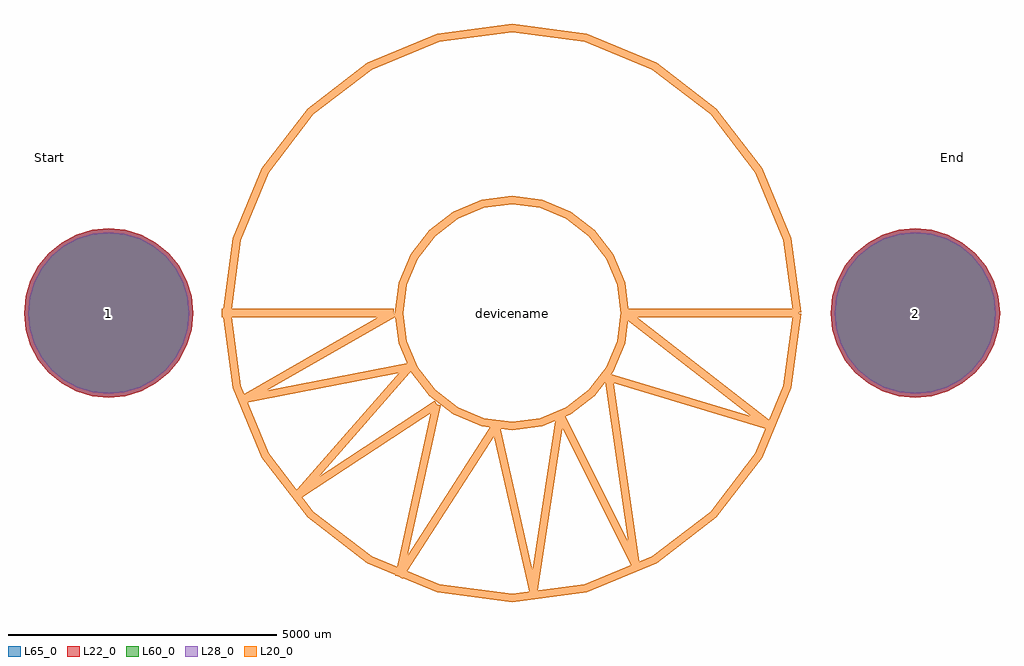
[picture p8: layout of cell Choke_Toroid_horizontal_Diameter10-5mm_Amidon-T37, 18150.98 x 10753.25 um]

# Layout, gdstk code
import gdstk
lib = gdstk.Library(unit=1e-6, precision=1e-09)
def P(c, l, *ps):  # polygons
    for p in ps: c.add(gdstk.Polygon(p, *l))
L20_0 = (20, 0)
L22_0 = (22, 0)
L28_0 = (28, 0)
L60_0 = (60, 0)
L65_0 = (65, 0)

choke_toroid_horizontal_ = lib.new_cell('Choke_Toroid_horizontal_Diameter10-5mm_Amidon-T37')
P(choke_toroid_horizontal_, L22_0, [(9075.49,0),(9045.229,307.242),(8955.61,602.677),(8810.077,874.951),(8614.221,1113.601),(8375.571,1309.457),(8103.297,1454.99),(7807.862,1544.609),(7500.62,1574.87),(7193.378,1544.609),(6897.943,1454.99),(6625.669,1309.457),(6387.019,1113.601),(6191.163,874.951),(6045.63,602.677),(5956.011,307.242),(5925.75,0),(5956.011,-307.242),(6045.63,-602.677),(6191.163,-874.951),(6387.019,-1113.601),(6625.669,-1309.457),(6897.943,-1454.99),(7193.378,-1544.609),(7500.62,-1574.87),(7807.862,-1544.609),(8103.297,-1454.99),(8375.571,-1309.457),(8614.221,-1113.601),(8810.077,-874.951),(8955.61,-602.677),(9045.229,-307.242)],
  [(-5925.75,0),(-5956.011,307.242),(-6045.63,602.677),(-6191.163,874.951),(-6387.019,1113.601),(-6625.669,1309.457),(-6897.943,1454.99),(-7193.378,1544.609),(-7500.62,1574.87),(-7807.862,1544.609),(-8103.297,1454.99),(-8375.571,1309.457),(-8614.221,1113.601),(-8810.077,874.951),(-8955.61,602.677),(-9045.229,307.242),(-9075.49,0),(-9045.229,-307.242),(-8955.61,-602.677),(-8810.077,-874.951),(-8614.221,-1113.601),(-8375.571,-1309.457),(-8103.297,-1454.99),(-7807.862,-1544.609),(-7500.62,-1574.87),(-7193.378,-1544.609),(-6897.943,-1454.99),(-6625.669,-1309.457),(-6387.019,-1113.601),(-6191.163,-874.951),(-6045.63,-602.677),(-5956.011,-307.242)])
P(choke_toroid_horizontal_, L28_0, [(9000.49,0),(8971.67,292.61),(8886.319,573.975),(8747.716,833.283),(8561.188,1060.568),(8333.903,1247.096),(8074.595,1385.699),(7793.23,1471.05),(7500.62,1499.87),(7208.01,1471.05),(6926.645,1385.699),(6667.337,1247.096),(6440.052,1060.568),(6253.524,833.283),(6114.921,573.975),(6029.57,292.61),(6000.75,0),(6029.57,-292.61),(6114.921,-573.975),(6253.524,-833.283),(6440.052,-1060.568),(6667.337,-1247.096),(6926.645,-1385.699),(7208.01,-1471.05),(7500.62,-1499.87),(7793.23,-1471.05),(8074.595,-1385.699),(8333.903,-1247.096),(8561.188,-1060.568),(8747.716,-833.283),(8886.319,-573.975),(8971.67,-292.61)],
  [(-6000.75,0),(-6029.57,292.61),(-6114.921,573.975),(-6253.524,833.283),(-6440.052,1060.568),(-6667.337,1247.096),(-6926.645,1385.699),(-7208.01,1471.05),(-7500.62,1499.87),(-7793.23,1471.05),(-8074.595,1385.699),(-8333.903,1247.096),(-8561.188,1060.568),(-8747.716,833.283),(-8886.319,573.975),(-8971.67,292.61),(-9000.49,0),(-8971.67,-292.61),(-8886.319,-573.975),(-8747.716,-833.283),(-8561.188,-1060.568),(-8333.903,-1247.096),(-8074.595,-1385.699),(-7793.23,-1471.05),(-7500.62,-1499.87),(-7208.01,-1471.05),(-6926.645,-1385.699),(-6667.337,-1247.096),(-6440.052,-1060.568),(-6253.524,-833.283),(-6114.921,-573.975),(-6029.57,-292.61)])
P(choke_toroid_horizontal_, L60_0, [(9000.49,0),(8971.67,292.61),(8886.319,573.975),(8747.716,833.283),(8561.188,1060.568),(8333.903,1247.096),(8074.595,1385.699),(7793.23,1471.05),(7500.62,1499.87),(7208.01,1471.05),(6926.645,1385.699),(6667.337,1247.096),(6440.052,1060.568),(6253.524,833.283),(6114.921,573.975),(6029.57,292.61),(6000.75,0),(6029.57,-292.61),(6114.921,-573.975),(6253.524,-833.283),(6440.052,-1060.568),(6667.337,-1247.096),(6926.645,-1385.699),(7208.01,-1471.05),(7500.62,-1499.87),(7793.23,-1471.05),(8074.595,-1385.699),(8333.903,-1247.096),(8561.188,-1060.568),(8747.716,-833.283),(8886.319,-573.975),(8971.67,-292.61)],
  [(-6000.75,0),(-6029.57,292.61),(-6114.921,573.975),(-6253.524,833.283),(-6440.052,1060.568),(-6667.337,1247.096),(-6926.645,1385.699),(-7208.01,1471.05),(-7500.62,1499.87),(-7793.23,1471.05),(-8074.595,1385.699),(-8333.903,1247.096),(-8561.188,1060.568),(-8747.716,833.283),(-8886.319,573.975),(-8971.67,292.61),(-9000.49,0),(-8971.67,-292.61),(-8886.319,-573.975),(-8747.716,-833.283),(-8561.188,-1060.568),(-8333.903,-1247.096),(-8074.595,-1385.699),(-7793.23,-1471.05),(-7500.62,-1499.87),(-7208.01,-1471.05),(-6926.645,-1385.699),(-6667.337,-1247.096),(-6440.052,-1060.568),(-6253.524,-833.283),(-6114.921,-573.975),(-6029.57,-292.61)])
P(choke_toroid_horizontal_, L65_0, [(9075.49,0),(9045.229,307.242),(8955.61,602.677),(8810.077,874.951),(8614.221,1113.601),(8375.571,1309.457),(8103.297,1454.99),(7807.862,1544.609),(7500.62,1574.87),(7193.378,1544.609),(6897.943,1454.99),(6625.669,1309.457),(6387.019,1113.601),(6191.163,874.951),(6045.63,602.677),(5956.011,307.242),(5925.75,0),(5956.011,-307.242),(6045.63,-602.677),(6191.163,-874.951),(6387.019,-1113.601),(6625.669,-1309.457),(6897.943,-1454.99),(7193.378,-1544.609),(7500.62,-1574.87),(7807.862,-1544.609),(8103.297,-1454.99),(8375.571,-1309.457),(8614.221,-1113.601),(8810.077,-874.951),(8955.61,-602.677),(9045.229,-307.242)],
  [(-5925.75,0),(-5956.011,307.242),(-6045.63,602.677),(-6191.163,874.951),(-6387.019,1113.601),(-6625.669,1309.457),(-6897.943,1454.99),(-7193.378,1544.609),(-7500.62,1574.87),(-7807.862,1544.609),(-8103.297,1454.99),(-8375.571,1309.457),(-8614.221,1113.601),(-8810.077,874.951),(-8955.61,602.677),(-9045.229,307.242),(-9075.49,0),(-9045.229,-307.242),(-8955.61,-602.677),(-8810.077,-874.951),(-8614.221,-1113.601),(-8375.571,-1309.457),(-8103.297,-1454.99),(-7807.862,-1544.609),(-7500.62,-1574.87),(-7193.378,-1544.609),(-6897.943,-1454.99),(-6625.669,-1309.457),(-6387.019,-1113.601),(-6191.163,-874.951),(-6045.63,-602.677),(-5956.011,-307.242)])
choke_toroid_horizontal_.add(gdstk.FlexPath([(5300.98,0),(5120.353,1371.995),(4590.783,2650.49),(3748.359,3748.359),(2650.49,4590.783),(1371.995,5120.353),(0,5300.98),(-1371.995,5120.353),(-2650.49,4590.783),(-3748.359,3748.359),(-4590.783,2650.49),(-5120.353,1371.995),(-5300.98,0),(-5120.353,-1371.995),(-4590.783,-2650.49),(-3748.359,-3748.359),(-2650.49,-4590.783),(-1371.995,-5120.353),(0,-5300.98),(1371.995,-5120.353),(2650.49,-4590.783),(3748.359,-3748.359),(4590.783,-2650.49),(5120.353,-1371.995),(5300.98,0)], 149.998, ends="flush", simple_path=True, layer=20, datatype=0))  # L20_0
choke_toroid_horizontal_.add(gdstk.FlexPath([(2100.58,0),(2029.004,543.67),(1819.156,1050.29),(1485.334,1485.334),(1050.29,1819.156),(543.67,2029.004),(0,2100.58),(-543.67,2029.004),(-1050.29,1819.156),(-1485.334,1485.334),(-1819.156,1050.29),(-2029.004,543.67),(-2100.58,0),(-2029.004,-543.67),(-1819.156,-1050.29),(-1485.334,-1485.334),(-1050.29,-1819.156),(-543.67,-2029.004),(0,-2100.58),(543.67,-2029.004),(1050.29,-1819.156),(1485.334,-1485.334),(1819.156,-1050.29),(2029.004,-543.67),(2100.58,0)], 149.998, ends="flush", simple_path=True, layer=20, datatype=0))  # L20_0
choke_toroid_horizontal_.add(gdstk.FlexPath([(2100.58,0),(5300.98,0)], 149.998, ends="flush", simple_path=True, layer=20, datatype=0))  # L20_0
choke_toroid_horizontal_.add(gdstk.FlexPath([(4800.6,-2100.58),(2100.58,0)], 149.998, ends="flush", simple_path=True, layer=20, datatype=0))  # L20_0
choke_toroid_horizontal_.add(gdstk.FlexPath([(1800.86,-1198.88),(4800.6,-2100.58)], 149.998, ends="flush", simple_path=True, layer=20, datatype=0))  # L20_0
choke_toroid_horizontal_.add(gdstk.FlexPath([(2301.24,-4699),(1800.86,-1198.88)], 149.998, ends="flush", simple_path=True, layer=20, datatype=0))  # L20_0
choke_toroid_horizontal_.add(gdstk.FlexPath([(899.16,-1899.92),(2301.24,-4699)], 149.998, ends="flush", simple_path=True, layer=20, datatype=0))  # L20_0
choke_toroid_horizontal_.add(gdstk.FlexPath([(398.78,-5199.38),(899.16,-1899.92)], 149.998, ends="flush", simple_path=True, layer=20, datatype=0))  # L20_0
choke_toroid_horizontal_.add(gdstk.FlexPath([(-299.72,-2100.58),(398.78,-5199.38)], 149.998, ends="flush", simple_path=True, layer=20, datatype=0))  # L20_0
choke_toroid_horizontal_.add(gdstk.FlexPath([(-2100.58,-4899.66),(-299.72,-2100.58)], 149.998, ends="flush", simple_path=True, layer=20, datatype=0))  # L20_0
choke_toroid_horizontal_.add(gdstk.FlexPath([(-1399.54,-1699.26),(-2100.58,-4899.66)], 149.998, ends="flush", simple_path=True, layer=20, datatype=0))  # L20_0
choke_toroid_horizontal_.add(gdstk.FlexPath([(-4000.5,-3401.06),(-1399.54,-1699.26)], 149.998, ends="flush", simple_path=True, layer=20, datatype=0))  # L20_0
choke_toroid_horizontal_.add(gdstk.FlexPath([(-1899.92,-1000.76),(-4000.5,-3401.06)], 149.998, ends="flush", simple_path=True, layer=20, datatype=0))  # L20_0
choke_toroid_horizontal_.add(gdstk.FlexPath([(-5001.26,-1600.2),(-1899.92,-1000.76)], 149.998, ends="flush", simple_path=True, layer=20, datatype=0))  # L20_0
choke_toroid_horizontal_.add(gdstk.FlexPath([(-2199.64,0),(-5001.26,-1600.2)], 149.998, ends="flush", simple_path=True, layer=20, datatype=0))  # L20_0
choke_toroid_horizontal_.add(gdstk.FlexPath([(-5400.04,0),(-2199.64,0)], 149.998, ends="flush", simple_path=True, layer=20, datatype=0))  # L20_0
choke_toroid_horizontal_.add(gdstk.Label('2', (7500.62,0), layer=28, texttype=0))
choke_toroid_horizontal_.add(gdstk.Label('1', (-7500.62,0), layer=28, texttype=0))
choke_toroid_horizontal_.add(gdstk.Label('Start', (-8600.44,2900.68), layer=9, texttype=0))
choke_toroid_horizontal_.add(gdstk.Label('End', (8199.12,2900.68), layer=9, texttype=0))
choke_toroid_horizontal_.add(gdstk.Label('type', (0,-7620), layer=9, texttype=0))
choke_toroid_horizontal_.add(gdstk.Label('devicename', (0,0), layer=9, texttype=0))

lib.write_gds('Choke_Toroid_horizontal_Diameter10-5mm_Amidon-T37.gds')
